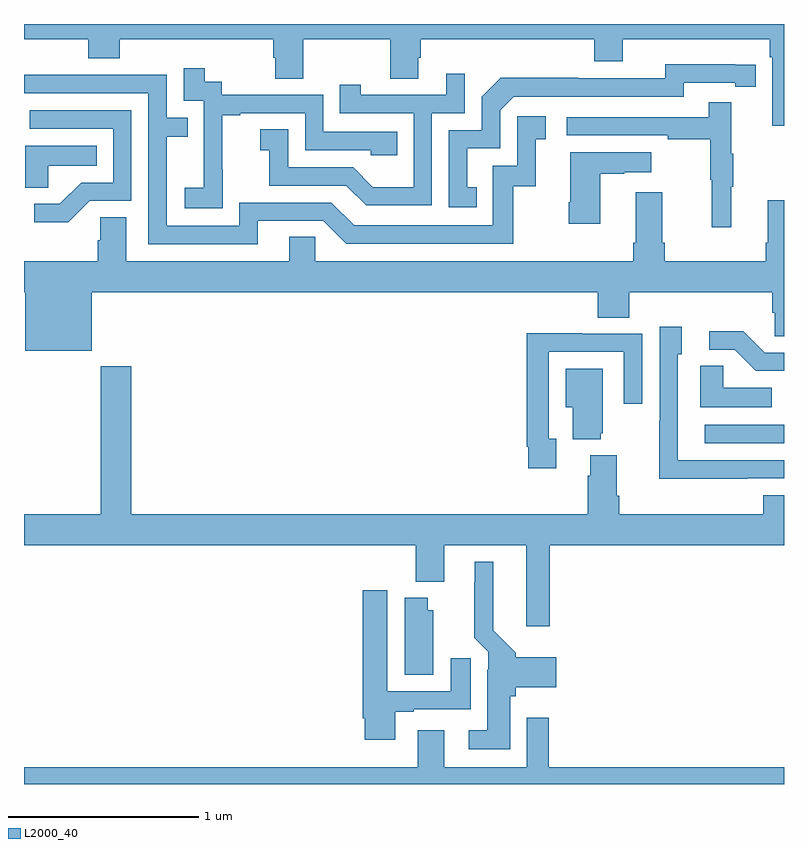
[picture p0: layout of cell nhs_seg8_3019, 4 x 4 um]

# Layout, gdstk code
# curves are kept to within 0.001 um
import gdstk
lib = gdstk.Library(unit=1e-6, precision=1e-09)
def R(c, l, rs):  # rectangles x0, y0, x1, y1
    for r in rs: c.add(gdstk.rectangle(r[:2], r[2:], *l))
def P(c, l, *ps):  # polygons
    for p in ps: c.add(gdstk.Polygon(p, *l))
L2000_40 = (2000, 40)

nhs_seg8_3019 = lib.new_cell('nhs_seg8_3019')
R(nhs_seg8_3019, L2000_40, [(302.583,1127.694,303,1127.79)])
P(nhs_seg8_3019, L2000_40, [(299,1129.82),(299.339,1129.82),(299.339,1129.721),(299.504,1129.721),(299.504,1129.82),(300.311,1129.82),(300.311,1129.722),(300.323,1129.722),(300.323,1129.612),(300.471,1129.612),(300.471,1129.82),(300.928,1129.82),(300.928,1129.612),(301.075,1129.612),(301.075,1129.722),(301.088,1129.722),(301.088,1129.82),(302,1129.82),(302,1129.703),(302.152,1129.703),(302.152,1129.82),(302.924,1129.82),(302.924,1129.724),(302.937,1129.724),(302.937,1129.365),(303,1129.365),(303,1129.9),(299,1129.9)],
  [(301.382,1129.041),(301.333,1129.041),(301.333,1129.245),(301.506,1129.245),(301.506,1129.446),(301.578,1129.518),(302.472,1129.518),(302.472,1129.59),(302.744,1129.59),(302.744,1129.57),(302.852,1129.57),(302.852,1129.686),(302.376,1129.687),(302.376,1129.614),(301.916,1129.614),(301.916,1129.616),(301.508,1129.616),(301.41,1129.518),(301.41,1129.341),(301.236,1129.341),(301.236,1128.936),(301.382,1128.936)],
  [(300.045,1129.135),(300.044,1129.135),(300.044,1129.419),(300.139,1129.419),(300.139,1129.431),(300.48,1129.431),(300.48,1129.236),(300.825,1129.236),(300.825,1129.209),(300.965,1129.209),(300.965,1129.332),(300.576,1129.332),(300.576,1129.527),(300.042,1129.527),(300.042,1129.596),(299.95,1129.596),(299.95,1129.666),(299.841,1129.666),(299.841,1129.497),(299.946,1129.497),(299.946,1129.268),(299.945,1129.268),(299.945,1129.039),(299.847,1129.039),(299.847,1128.929),(300.045,1128.929)],
  [(301.146,1129.431),(301.32,1129.431),(301.32,1129.639),(301.223,1129.639),(301.223,1129.527),(300.772,1129.527),(300.772,1129.579),(300.661,1129.579),(300.661,1129.431),(301.05,1129.431),(301.05,1129.042),(300.836,1129.042),(300.732,1129.146),(300.39,1129.146),(300.39,1129.345),(300.243,1129.345),(300.243,1129.235),(300.292,1129.235),(300.292,1129.05),(300.695,1129.05),(300.8,1128.945),(301.146,1128.945)],
  [(300.229,1128.864),(300.576,1128.864),(300.696,1128.744),(301.576,1128.744),(301.576,1129.047),(301.694,1129.047),(301.694,1129.293),(301.747,1129.293),(301.747,1129.414),(301.596,1129.414),(301.596,1129.155),(301.467,1129.155),(301.467,1128.84),(300.738,1128.84),(300.618,1128.96),(300.132,1128.96),(300.132,1128.837),(299.751,1128.837),(299.751,1129.306),(299.861,1129.306),(299.861,1129.407),(299.751,1129.407),(299.751,1129.632),(299.255,1129.632),(299.255,1129.634),(299,1129.634),(299,1129.536),(299.655,1129.536),(299.655,1128.741),(300.229,1128.741)],
  [(302.723,1129.043),(302.734,1129.043),(302.734,1129.217),(302.723,1129.217),(302.723,1129.489),(302.605,1129.489),(302.605,1129.41),(301.857,1129.41),(301.857,1129.314),(302.389,1129.314),(302.389,1129.294),(302.613,1129.294),(302.613,1129.08),(302.62,1129.08),(302.62,1128.831),(302.723,1128.831)],
  [(299.346,1128.969),(299.565,1128.969),(299.565,1129.446),(299.031,1129.446),(299.031,1129.35),(299.469,1129.35),(299.469,1129.065),(299.3,1129.065),(299.189,1128.954),(299.055,1128.954),(299.055,1128.857),(299.233,1128.857)],
  [(299.127,1129.154),(299.384,1129.154),(299.384,1129.258),(299.006,1129.258),(299.006,1129.039),(299.127,1129.039)],
  [(302.032,1129.111),(302.159,1129.111),(302.159,1129.121),(302.302,1129.121),(302.302,1129.225),(301.874,1129.225),(301.874,1128.961),(301.867,1128.961),(301.867,1128.849),(302.032,1128.849)],
  [(299.356,1128.488),(302.021,1128.488),(302.021,1128.355),(302.186,1128.355),(302.186,1128.488),(302.939,1128.488),(302.939,1128.379),(302.952,1128.379),(302.952,1128.256),(303,1128.256),(303,1128.973),(302.915,1128.973),(302.915,1128.748),(302.903,1128.748),(302.903,1128.652),(302.372,1128.652),(302.372,1128.748),(302.359,1128.748),(302.359,1129.015),(302.219,1129.015),(302.219,1128.748),(302.207,1128.748),(302.207,1128.652),(300.534,1128.652),(300.534,1128.779),(300.395,1128.779),(300.395,1128.652),(299.539,1128.652),(299.539,1128.884),(299.4,1128.884),(299.4,1128.761),(299.387,1128.761),(299.387,1128.652),(299,1128.652),(299,1128.488),(299.006,1128.488),(299.006,1128.179),(299.356,1128.179)],
  [(302.807,1127.508),(303,1127.508),(303,1127.604),(302.442,1127.604),(302.442,1128.162),(302.461,1128.162),(302.461,1128.307),(302.346,1128.307),(302.346,1127.813),(302.344,1127.813),(302.344,1127.507),(302.807,1127.507)],
  [(303,1128.171),(302.898,1128.171),(302.785,1128.284),(302.607,1128.284),(302.607,1128.186),(302.741,1128.186),(302.852,1128.075),(303,1128.075)],
  [(301.801,1127.718),(301.761,1127.718),(301.761,1128.174),(302.157,1128.174),(302.157,1127.901),(302.253,1127.901),(302.253,1128.27),(301.937,1128.27),(301.937,1128.272),(301.645,1128.272),(301.645,1127.674),(301.653,1127.674),(301.653,1127.562),(301.801,1127.562)],
  [(302.936,1127.986),(302.679,1127.986),(302.679,1128.101),(302.558,1128.101),(302.558,1127.882),(302.936,1127.882)],
  [(301.766,1127.156),(303,1127.156),(303,1127.419),(302.891,1127.419),(302.891,1127.32),(302.132,1127.32),(302.132,1127.416),(302.119,1127.416),(302.119,1127.629),(301.979,1127.629),(301.979,1127.522),(301.967,1127.522),(301.967,1127.32),(299.564,1127.32),(299.564,1128.1),(299.404,1128.1),(299.404,1127.32),(299,1127.32),(299,1127.156),(301.061,1127.156),(301.061,1126.964),(301.213,1126.964),(301.213,1127.156),(301.643,1127.156),(301.643,1126.731),(301.766,1126.731)],
  [(302.036,1127.745),(302.047,1127.745),(302.047,1128.085),(301.85,1128.085),(301.85,1127.882),(301.889,1127.882),(301.889,1127.714),(302.036,1127.714)],
  [(301.558,1126.362),(301.589,1126.362),(301.589,1126.409),(301.801,1126.409),(301.801,1126.567),(301.589,1126.567),(301.589,1126.59),(301.471,1126.708),(301.471,1127.071),(301.373,1127.071),(301.373,1126.961),(301.369,1126.961),(301.369,1126.67),(301.443,1126.596),(301.443,1126.502),(301.439,1126.502),(301.439,1126.183),(301.341,1126.183),(301.341,1126.082),(301.558,1126.082)],
  [(300.955,1126.281),(301.051,1126.281),(301.051,1126.293),(301.351,1126.293),(301.351,1126.561),(301.247,1126.561),(301.247,1126.389),(300.913,1126.389),(300.913,1126.921),(300.782,1126.921),(300.782,1126.246),(300.794,1126.246),(300.794,1126.134),(300.955,1126.134)],
  [(301.153,1126.815),(301.126,1126.815),(301.126,1126.879),(301.004,1126.879),(301.004,1126.474),(301.153,1126.474)],
  [(303,1125.988),(301.763,1125.988),(301.763,1126.249),(301.647,1126.249),(301.647,1125.988),(301.213,1125.988),(301.213,1126.183),(301.073,1126.183),(301.073,1125.988),(299,1125.988),(299,1125.9),(303,1125.9)])

lib.write_gds('nhs_seg8_3019.gds')
